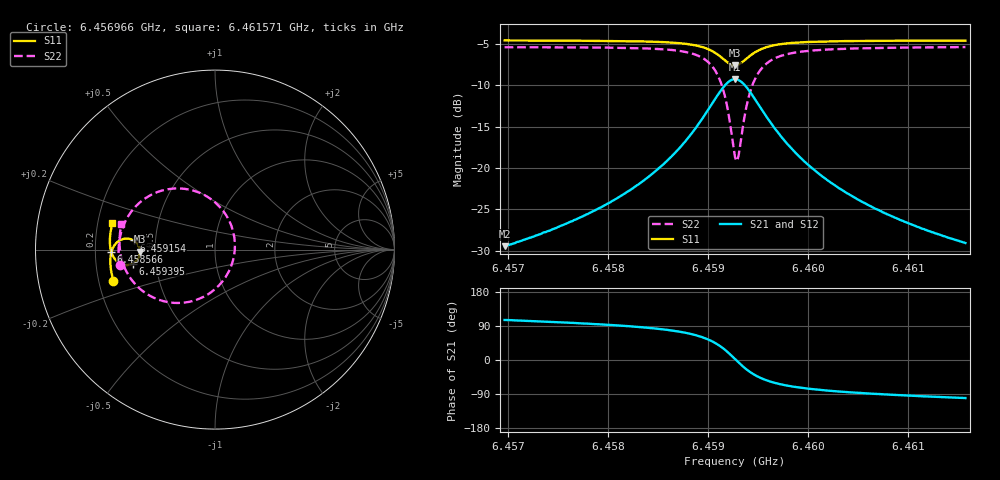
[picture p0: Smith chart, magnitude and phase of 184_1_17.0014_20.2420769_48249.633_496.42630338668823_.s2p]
#  HZ  S  RI  R  50.00
! Rohde & Schwarz Vector Network Analyzer
! Rohde-Schwarz,ZNB20-2Port,1311601062101988,3.16
! Created: UTC 3/20/2024, 11:00:16 PM
! freq[Hz]  re:S11  im:S11  re:S21  im:S21  re:S12  im:S12  re:S22  im:S22
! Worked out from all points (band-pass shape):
!   401 points, 6.456966 GHz to 6.461571 GHz, reference 50 ohm
!   highest |S21| = -9.25 dB at 6.459269 GHz (marker M1); lowest = -29.5 dB at 6.456966 GHz (marker M2)
!   |S21| within 3 dB of the highest: 6.459038 GHz to 6.459499 GHz (461.4 kHz wide, 0.00714 % of centre)
!   lowest |S11| = -7.6 dB at 6.459269 GHz (marker M3), VSWR 2.44, Z = 20.5 - j0.59 ohm
!   |S11| at or under -10 dB: nowhere
!   |S22| runs from -19.1 to -5.4 dB; largest |S21 - S12| = 0.013
!   S11 on the Smith chart (normalised r, x): 6.456966 GHz: 0.26, -0.14; 6.458566 GHz: 0.27, -0.01; 6.459154 GHz: 0.37, +0.05; 6.459395 GHz: 0.37, -0.07; 6.461571 GHz: 0.26, +0.12
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6.4569663e9  -0.5659 -0.1743  -0.00905 0.0324  -0.00738 0.0324  -0.5313 -0.0879
6.4577376e9  -0.5802 -0.1068  -0.00574 0.0504  -0.00335 0.0497  -0.5374 0.00228
6.4581635e9  -0.5832 -0.0644  8.8e-05 0.0699  0.00316 0.0686  -0.5294 0.0696
6.4585089e9  -0.5795 -0.0229  0.0137 0.0987  0.0177 0.0961  -0.5045 0.1475
6.4585665e9  -0.5778 -0.015  0.0181 0.1056  0.0222 0.1026  -0.4963 0.164
6.4587737e9  -0.5648 0.0172  0.0453 0.1381  0.0496 0.1332  -0.4452 0.2369
6.4589233e9  -0.5423 0.0435  0.0907 0.1687  0.0938 0.1621  -0.3621 0.3018
6.4590615e9  -0.4986 0.0612  0.1777 0.1856  0.1788 0.1783  -0.2032 0.3408
6.4591536e9  -0.4538 0.051  0.2675 0.1546  0.2679 0.1488  -0.0369 0.2911
6.4592226e9  -0.4247 0.0191  0.3282 0.0831  0.3304 0.0778  0.0785 0.1624
6.4592687e9  -0.4178 -0.0119  0.3446 0.0153  0.3483 0.00843  0.1108 0.0359
6.4592802e9  -0.4182 -0.0199  0.3446 -0.00245  0.3485 -0.00994  0.1106 0.00239
6.4593032e9  -0.4217 -0.0355  0.3392 -0.0371  0.3429 -0.0461  0.0996 -0.063
6.4593493e9  -0.4372 -0.0616  0.3107 -0.097  0.313 -0.1087  0.0427 -0.176
6.4593953e9  -0.4592 -0.0779  0.2691 -0.138  0.2683 -0.1511  -0.0418 -0.2508
6.4594874e9  -0.5025 -0.0849  0.1845 -0.1693  0.1785 -0.1808  -0.2098 -0.2973
6.4596371e9  -0.5464 -0.0646  0.0968 -0.1559  0.0885 -0.162  -0.3769 -0.2489
6.4597982e9  -0.568 -0.0371  0.0519 -0.1283  0.0443 -0.1311  -0.4574 -0.1774
6.46004e9  -0.5809 -0.00153  0.0228 -0.097  0.0169 -0.0976  -0.5057 -0.0953
6.4603854e9  -0.5856 0.0396  0.00649 -0.0702  0.00248 -0.0698  -0.5275 -0.0166
6.4608113e9  -0.5838 0.0821  -0.00126 -0.0518  -0.00401 -0.051  -0.532 0.0515
6.4615711e9  -0.5718 0.1496  -0.00635 -0.0345  -0.00809 -0.0337  -0.521 0.1414
